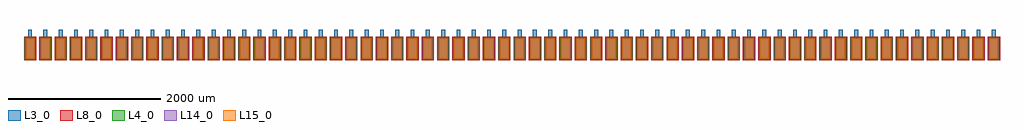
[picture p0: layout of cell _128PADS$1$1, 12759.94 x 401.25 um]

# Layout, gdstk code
import gdstk
lib = gdstk.Library(unit=1e-6, precision=1e-09)
def R(c, l, rs):  # rectangles x0, y0, x1, y1
    for r in rs: c.add(gdstk.rectangle(r[:2], r[2:], *l))
def P(c, l, *ps):  # polygons
    for p in ps: c.add(gdstk.Polygon(p, *l))
L3_0 = (3, 0)
L4_0 = (4, 0)
L8_0 = (8, 0)
L14_0 = (14, 0)
L15_0 = (15, 0)

c_128pad_1_1 = lib.new_cell('128PAD$1$1')
P(c_128pad_1_1, L3_0, [(-100,0),(-100,300),(-50.5,300),(-50.5,396.246),(-0.5,396.246),(-0.501,300),(50,300),(50,0)])
R(c_128pad_1_1, L4_0, [(-95.001,5,45,295)])
R(c_128pad_1_1, L8_0, [(-105,-5,54.999,305)])
R(c_128pad_1_1, L14_0, [(-90.001,10,40,290)])
P(c_128pad_1_1, L15_0, [(35,15),(-85,15.001),(-85.001,285),(35,285)])

c__128pads_1_1 = lib.new_cell('_128PADS$1$1')
r = gdstk.Reference(c_128pad_1_1, (-6275,-202.5)); r.repetition = gdstk.Repetition(64, 1, v1=(199.999,0), v2=(0,0)); c__128pads_1_1.add(r)

lib.write_gds('_128PADS_1_1.gds')
